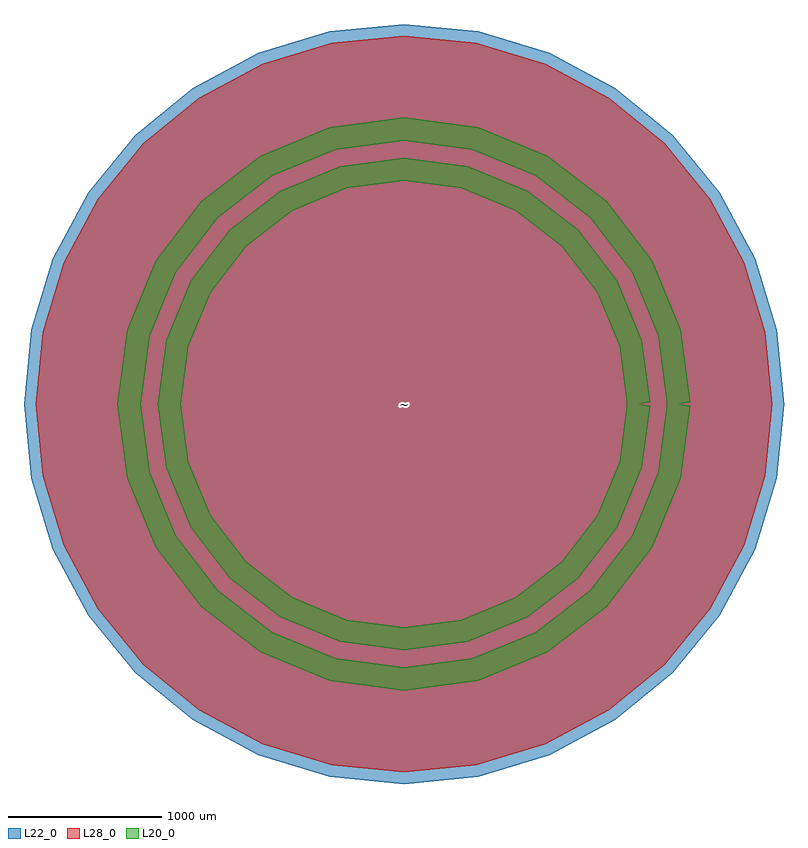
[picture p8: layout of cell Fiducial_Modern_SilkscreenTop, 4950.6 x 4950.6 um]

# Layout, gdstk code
import gdstk
lib = gdstk.Library(unit=1e-6, precision=1e-09)
def P(c, l, *ps):  # polygons
    for p in ps: c.add(gdstk.Polygon(p, *l))
L20_0 = (20, 0)
L22_0 = (22, 0)
L28_0 = (28, 0)

fiducial_modern_silkscre = lib.new_cell('Fiducial_Modern_SilkscreenTop')
P(fiducial_modern_silkscre, L22_0, [(2475.3,0),(2427.738,482.907),(2286.879,947.256),(2058.137,1375.203),(1750.301,1750.301),(1375.203,2058.137),(947.256,2286.879),(482.907,2427.738),(0,2475.3),(-482.907,2427.738),(-947.256,2286.879),(-1375.203,2058.137),(-1750.301,1750.301),(-2058.137,1375.203),(-2286.879,947.256),(-2427.738,482.907),(-2475.3,0),(-2427.738,-482.907),(-2286.879,-947.256),(-2058.137,-1375.203),(-1750.301,-1750.301),(-1375.203,-2058.137),(-947.256,-2286.879),(-482.907,-2427.738),(0,-2475.3),(482.907,-2427.738),(947.256,-2286.879),(1375.203,-2058.137),(1750.301,-1750.301),(2058.137,-1375.203),(2286.879,-947.256),(2427.738,-482.907)])
P(fiducial_modern_silkscre, L28_0, [(2400.3,0),(2354.179,468.275),(2217.588,918.555),(1995.777,1333.535),(1697.268,1697.268),(1333.535,1995.777),(918.555,2217.588),(468.275,2354.179),(0,2400.3),(-468.275,2354.179),(-918.555,2217.588),(-1333.535,1995.777),(-1697.268,1697.268),(-1995.777,1333.535),(-2217.588,918.555),(-2354.179,468.275),(-2400.3,0),(-2354.179,-468.275),(-2217.588,-918.555),(-1995.777,-1333.535),(-1697.268,-1697.268),(-1333.535,-1995.777),(-918.555,-2217.588),(-468.275,-2354.179),(0,-2400.3),(468.275,-2354.179),(918.555,-2217.588),(1333.535,-1995.777),(1697.268,-1697.268),(1995.777,-1333.535),(2217.588,-918.555),(2354.179,-468.275)])
fiducial_modern_silkscre.add(gdstk.FlexPath([(1790.7,0),(1729.683,463.467),(1550.792,895.35),(1266.216,1266.216),(895.35,1550.792),(463.467,1729.683),(0,1790.7),(-463.467,1729.683),(-895.35,1550.792),(-1266.216,1266.216),(-1550.792,895.35),(-1729.683,463.467),(-1790.7,0),(-1729.683,-463.467),(-1550.792,-895.35),(-1266.216,-1266.216),(-895.35,-1550.792),(-463.467,-1729.683),(0,-1790.7),(463.467,-1729.683),(895.35,-1550.792),(1266.216,-1266.216),(1550.792,-895.35),(1729.683,-463.467),(1790.7,0)], 149.998, ends="flush", simple_path=True, layer=20, datatype=0))  # L20_0
fiducial_modern_silkscre.add(gdstk.FlexPath([(1529.08,0),(1476.978,395.755),(1324.222,764.54),(1081.223,1081.223),(764.54,1324.222),(395.755,1476.978),(0,1529.08),(-395.755,1476.978),(-764.54,1324.222),(-1081.223,1081.223),(-1324.222,764.54),(-1476.978,395.755),(-1529.08,0),(-1476.978,-395.755),(-1324.222,-764.54),(-1081.223,-1081.223),(-764.54,-1324.222),(-395.755,-1476.978),(0,-1529.08),(395.755,-1476.978),(764.54,-1324.222),(1081.223,-1081.223),(1324.222,-764.54),(1476.978,-395.755),(1529.08,0)], 149.998, ends="flush", simple_path=True, layer=20, datatype=0))  # L20_0
fiducial_modern_silkscre.add(gdstk.Label('~', (0,0), layer=28, texttype=0))
fiducial_modern_silkscre.add(gdstk.Label('type', (810.26,-4180.84), layer=9, texttype=0))
fiducial_modern_silkscre.add(gdstk.Label('devicename', (30.48,4269.74), layer=9, texttype=0))

lib.write_gds('Fiducial_Modern_SilkscreenTop.gds')
